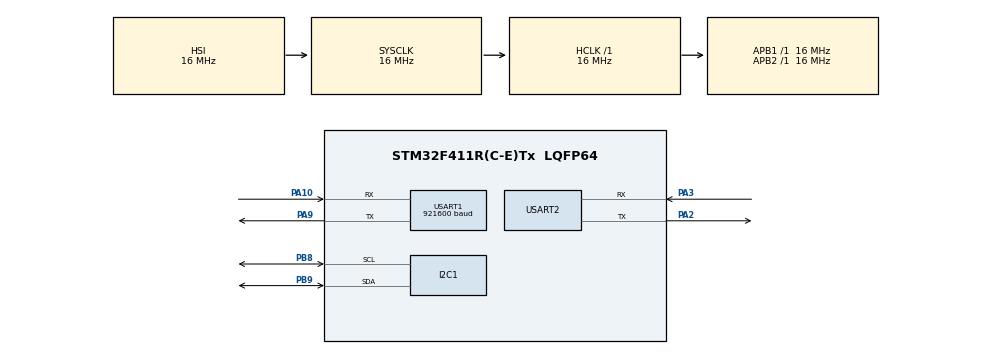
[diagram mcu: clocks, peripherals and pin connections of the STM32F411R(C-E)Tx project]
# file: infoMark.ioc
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Dma.Request0=USART1_RX
Dma.Request1=USART2_RX
Dma.Request2=USART2_TX
Dma.Request3=USART1_TX
Dma.USART1_RX.0.Direction=DMA_PERIPH_TO_MEMORY
Dma.USART1_RX.0.FIFOMode=DMA_FIFOMODE_DISABLE
Dma.USART1_RX.0.Instance=DMA2_Stream2
Dma.USART1_RX.0.MemDataAlignment=DMA_MDATAALIGN_BYTE
Dma.USART1_RX.0.MemInc=DMA_MINC_ENABLE
Dma.USART1_RX.0.Mode=DMA_NORMAL
Dma.USART1_RX.0.PeriphDataAlignment=DMA_PDATAALIGN_BYTE
Dma.USART1_RX.0.PeriphInc=DMA_PINC_DISABLE
Dma.USART1_RX.0.Priority=DMA_PRIORITY_LOW
Dma.USART1_TX.3.Direction=DMA_MEMORY_TO_PERIPH
Dma.USART1_TX.3.FIFOMode=DMA_FIFOMODE_DISABLE
Dma.USART1_TX.3.Instance=DMA2_Stream7
Dma.USART1_TX.3.MemDataAlignment=DMA_MDATAALIGN_BYTE
Dma.USART1_TX.3.MemInc=DMA_MINC_ENABLE
Dma.USART1_TX.3.Mode=DMA_NORMAL
Dma.USART1_TX.3.PeriphDataAlignment=DMA_PDATAALIGN_BYTE
Dma.USART1_TX.3.PeriphInc=DMA_PINC_DISABLE
Dma.USART1_TX.3.Priority=DMA_PRIORITY_LOW
Dma.USART2_RX.1.Direction=DMA_PERIPH_TO_MEMORY
Dma.USART2_RX.1.FIFOMode=DMA_FIFOMODE_DISABLE
Dma.USART2_RX.1.Instance=DMA1_Stream5
Dma.USART2_RX.1.MemDataAlignment=DMA_MDATAALIGN_BYTE
Dma.USART2_RX.1.MemInc=DMA_MINC_ENABLE
Dma.USART2_RX.1.Mode=DMA_NORMAL
Dma.USART2_RX.1.PeriphDataAlignment=DMA_PDATAALIGN_BYTE
Dma.USART2_RX.1.PeriphInc=DMA_PINC_DISABLE
Dma.USART2_RX.1.Priority=DMA_PRIORITY_LOW
Dma.USART2_TX.2.Direction=DMA_MEMORY_TO_PERIPH
Dma.USART2_TX.2.FIFOMode=DMA_FIFOMODE_DISABLE
Dma.USART2_TX.2.Instance=DMA1_Stream6
Dma.USART2_TX.2.MemDataAlignment=DMA_MDATAALIGN_BYTE
Dma.USART2_TX.2.MemInc=DMA_MINC_ENABLE
Dma.USART2_TX.2.Mode=DMA_NORMAL
Dma.USART2_TX.2.PeriphDataAlignment=DMA_PDATAALIGN_BYTE
Dma.USART2_TX.2.PeriphInc=DMA_PINC_DISABLE
Dma.USART2_TX.2.Priority=DMA_PRIORITY_LOW
Mcu.Family=STM32F4
Mcu.Name=STM32F411R(C-E)Tx
Mcu.Package=LQFP64
NVIC.DMA1_Stream5_IRQn=true\:0\:0\:false\:false\:true\:false\:true\:true
NVIC.DMA1_Stream6_IRQn=true\:0\:0\:false\:false\:true\:false\:true\:true
NVIC.DMA2_Stream2_IRQn=true\:0\:0\:false\:false\:true\:false\:true\:true
NVIC.DMA2_Stream7_IRQn=true\:0\:0\:false\:false\:true\:false\:true\:true
NVIC.PriorityGroup=NVIC_PRIORITYGROUP_4
NVIC.USART1_IRQn=true\:0\:0\:false\:false\:true\:true\:true\:true
NVIC.USART2_IRQn=true\:0\:0\:false\:false\:true\:true\:true\:true
PA10.Mode=Asynchronous
PA10.Signal=USART1_RX
PA13.Mode=Serial_Wire
PA13.Signal=SYS_JTMS-SWDIO
PA14.Mode=Serial_Wire
PA14.Signal=SYS_JTCK-SWCLK
PA2.Mode=Asynchronous
PA2.Signal=USART2_TX
PA3.Mode=Asynchronous
PA3.Signal=USART2_RX
PA9.Mode=Asynchronous
PA9.Signal=USART1_TX
PB8.Mode=I2C
PB8.Signal=I2C1_SCL
PB9.Mode=I2C
PB9.Signal=I2C1_SDA
ProjectManager.HeapSize=0x200
ProjectManager.StackSize=0x400
ProjectManager.TargetToolchain=CMake
RCC.AHBFreq_Value=16000000
RCC.APB1Freq_Value=16000000
RCC.APB2Freq_Value=16000000
RCC.CortexFreq_Value=16000000
RCC.HSE_VALUE=25000000
RCC.HSI_VALUE=16000000
RCC.LSE_VALUE=32768
RCC.SYSCLKFreq_VALUE=16000000
RCC.VCOOutputFreq_Value=192000000
USART1.BaudRate=921600
USART1.VirtualMode=VM_ASYNC
USART2.VirtualMode=VM_ASYNC
board=custom

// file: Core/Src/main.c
/* USER CODE BEGIN Header */
/**
  ******************************************************************************
  * @file           : main.c
  * @brief          : Main program body (Chat Display to Full LCD)
  ******************************************************************************
  */
/* USER CODE END Header */
#include "main.h"
#include "dma.h"
#include "i2c.h"
#include "usart.h"
#include "gpio.h"

/* USER CODE BEGIN Includes */
#include "myLcd.h"
#include <stdio.h>
#include <string.h>
#include "parkingModel.h"
#include "parkingDisplay.h"
/* USER CODE END Includes */

/* USER CODE BEGIN PV */
#define RX_BUF_SIZE 256
uint8_t rx_buf[RX_BUF_SIZE];        // Teleplot -> USART2 수신용 버퍼
uint8_t tx_buf[RX_BUF_SIZE];        // USART2 -> 점퍼선 -> USART1 수신용 버퍼

char lcd_display_buf[RX_BUF_SIZE];  // LCD 출력용 버퍼
volatile uint8_t lcd_update_flag = 0;
/* USER CODE END PV */

void SystemClock_Config(void);

/* USER CODE BEGIN 0 */
void parkingLcdRender(const ParkingSystem_t *sys);
int __io_putchar(int ch)
{
    HAL_UART_Transmit(&huart2, (uint8_t *)&ch, 1, 10);
    return ch;
}
/* USER CODE END 0 */

int main(void)
{

  /* MCU Configuration--------------------------------------------------------*/

  /* Reset of all peripherals, Initializes the Flash interface and the Systick. */
  HAL_Init();

  /* Configure the system clock */
  SystemClock_Config();

  /* Initialize all configured peripherals */
  MX_GPIO_Init();
  MX_DMA_Init();
  MX_USART2_UART_Init();
  MX_I2C1_Init();
  MX_USART1_UART_Init();
  /* USER CODE BEGIN 2 */

  // 0. I2C 버스 스캐너 실행 (연결된 모든 I2C 디바이스 감지)
  printf("\r\n--- Scanning I2C bus ---\r\n");
  for (uint8_t i = 1; i < 128; i++) {
      if (HAL_I2C_IsDeviceReady(&hi2c1, (i << 1), 1, 10) == HAL_OK) {
          printf("[I2C Found] Device address: 0x%02X (8-bit: 0x%02X)\r\n", i, (i << 1));
      }
  }
  printf("------------------------\r\n");

  // 주차 모델 초기화 (기본 10개 슬롯 활성화)
  parkingModelInit();

  // 1. LCD 초기화 및 초기 주차 현황 출력
  lcdInit(&hi2c1, I2C_LCD_ADDR);
  lcdClear();
  parkingLcdRender(parkingModelGetSystem());

  // OLED 주차 디스플레이 초기화 (LCD와 동일한 I2C 버스 공유)
  parkingDisplayInit(&hi2c1);
  parkingDisplayRenderSlots(parkingModelGetSystem());

  // 2. Teleplot 시작 안내
  char init_msg[] = "\r\n[System] InfoMark DMA Pipeline Ready! Enter chat:\r\n";
  HAL_UART_Transmit(&huart2, (uint8_t *)init_msg, strlen(init_msg), 100);

  HAL_UARTEx_ReceiveToIdle_DMA(&huart2, rx_buf, RX_BUF_SIZE);
  __HAL_DMA_DISABLE_IT(huart2.hdmarx, DMA_IT_HT);

  HAL_UARTEx_ReceiveToIdle_DMA(&huart1, tx_buf, RX_BUF_SIZE);
  __HAL_DMA_DISABLE_IT(huart1.hdmarx, DMA_IT_HT);

  /* USER CODE END 2 */

  /* Infinite loop */
  /* USER CODE BEGIN WHILE */
  while (1)
  {
      if (lcd_update_flag)
      {
        lcd_update_flag = 0;
        parkingLcdRender(parkingModelGetSystem());
        parkingDisplayRenderSlots(parkingModelGetSystem());

        /* Teleplot용 출력 */
        const ParkingSystem_t *sys = parkingModelGetSystem();
        printf(">EmptyCount:%d\r\n>OccupiedCount:%d\r\n", sys->empty_count, sys->occupied_count);
        for (int j = 0; j < MAX_PARKING_SLOTS; j++) {
            if (sys->slots[j].is_valid) {
                printf(">%c%02d:%d\r\n", sys->slots[j].section, sys->slots[j].number, sys->slots[j].is_occupied ? 1 : 0);
            }
        }
      }
    /* USER CODE END WHILE */

  }
}

void SystemClock_Config(void)
{
  RCC_OscInitTypeDef RCC_OscInitStruct = {0};
  RCC_ClkInitTypeDef RCC_ClkInitStruct = {0};

  /** Configure the main internal regulator output voltage
  */
  __HAL_RCC_PWR_CLK_ENABLE();
  __HAL_PWR_VOLTAGESCALING_CONFIG(PWR_REGULATOR_VOLTAGE_SCALE1);

  /** Initializes the RCC Oscillators according to the specified parameters
  * in the RCC_OscInitTypeDef structure.
  */
  RCC_OscInitStruct.OscillatorType = RCC_OSCILLATORTYPE_HSI;
  RCC_OscInitStruct.HSIState = RCC_HSI_ON;
  RCC_OscInitStruct.HSICalibrationValue = RCC_HSICALIBRATION_DEFAULT;
  RCC_OscInitStruct.PLL.PLLState = RCC_PLL_NONE;
  if (HAL_RCC_OscConfig(&RCC_OscInitStruct) != HAL_OK)
  {
    Error_Handler();
  }

  /** Initializes the CPU, AHB and APB buses clocks
  */
  RCC_ClkInitStruct.ClockType = RCC_CLOCKTYPE_HCLK|RCC_CLOCKTYPE_SYSCLK
                              |RCC_CLOCKTYPE_PCLK1|RCC_CLOCKTYPE_PCLK2;
  RCC_ClkInitStruct.SYSCLKSource = RCC_SYSCLKSOURCE_HSI;
  RCC_ClkInitStruct.AHBCLKDivider = RCC_SYSCLK_DIV1;
  RCC_ClkInitStruct.APB1CLKDivider = RCC_HCLK_DIV1;
  RCC_ClkInitStruct.APB2CLKDivider = RCC_HCLK_DIV1;

  if (HAL_RCC_ClockConfig(&RCC_ClkInitStruct, FLASH_LATENCY_0) != HAL_OK)
  {
    Error_Handler();
  }
}

/* USER CODE BEGIN 4 */
void HAL_UARTEx_RxEventCallback(UART_HandleTypeDef *huart, uint16_t Size)
{
    // [1단계] Teleplot(USART2) 수신 -> USART1(점퍼선)으로 송신
    if (huart->Instance == USART2)
    {
        HAL_UART_DMAStop(&huart2);

        // huart1으로 쏴주어야 USART1의 RX(PA10) DMA가 수신 완료를 감지함
        HAL_UART_Transmit(&huart1, rx_buf, Size, 100);

        memset(rx_buf, 0, Size);
        HAL_UARTEx_ReceiveToIdle_DMA(&huart2, rx_buf, RX_BUF_SIZE);
    }
    // [2단계] 점퍼선 또는 외부에서 USART1 수신 완료 -> LCD 출력
    else if (huart->Instance == USART1)
    {
        HAL_UART_DMAStop(&huart1);

        while (Size > 0 && (tx_buf[Size - 1] == '\r' || tx_buf[Size - 1] == '\n' || tx_buf[Size - 1] == 0)) {
            Size--;
        }

        if (Size > 0) {
            uint16_t pkt_idx = 0;
            bool found = false;
            for (uint16_t i = 0; i < Size - 4; i++) {
                if (tx_buf[i] == '$' && tx_buf[i+1] == 'P' && tx_buf[i+2] == 'A' && tx_buf[i+3] == 'R' && tx_buf[i+4] == 'K') {
                    pkt_idx = i;
                    found = true;
                    break;
                }
                if (i < Size - 5 && tx_buf[i] == '$' && tx_buf[i+1] == 'E' && tx_buf[i+2] == 'V' && tx_buf[i+3] == 'E' && tx_buf[i+4] == 'N' && tx_buf[i+5] == 'T') {
                    pkt_idx = i;
                    found = true;
                    break;
                }
            }

            if (found) {
                uint16_t copy_len = Size - pkt_idx;
                if (copy_len >= sizeof(lcd_display_buf)) copy_len = sizeof(lcd_display_buf) - 1;
                memcpy(lcd_display_buf, &tx_buf[pkt_idx], copy_len);
                lcd_display_buf[copy_len] = '\0';

                // 중간에 있는 null 문자들을 모두 공백으로 변환 (strtok 등에서 끊기지 않도록)
                for(uint16_t i=0; i<copy_len; i++){
                    if(lcd_display_buf[i] == '\0') {
                        lcd_display_buf[i] = ' ';
                    }
                }

                /* 1. 수신 패킷 파싱 */
                if (parkingModelParsePacket(lcd_display_buf)) {
                    lcd_update_flag = 1; /* 파싱 성공 시 LCD/OLED 갱신 플래그 ON */
                }
            }

            /* UART2로 원본 수신 디버그 출력 (주석 처리) */
            // printf("\r\n[UART1 Rx (%d bytes)] %s (HEX:", Size, lcd_display_buf);
            // for (int i = 0; i < Size && i < 16; i++) {
            //     printf(" %02X", (uint8_t)lcd_display_buf[i]);
            // }
            // printf(")\r\n");
        }

        memset(tx_buf, 0, sizeof(tx_buf));
        HAL_UARTEx_ReceiveToIdle_DMA(&huart1, tx_buf, RX_BUF_SIZE);
        __HAL_DMA_DISABLE_IT(huart1.hdmarx, DMA_IT_HT);
    }
}

void HAL_UART_ErrorCallback(UART_HandleTypeDef *huart)
{
    if (huart->Instance == USART1)
    {
        /* 오버런 등 에러 플래그 클리어 후 DMA 재시작 */
        // __HAL_UART_CLEAR_OREFLAG(huart);
        // HAL_UARTEx_ReceiveToIdle_DMA(&huart1, tx_buf, RX_BUF_SIZE);
        __HAL_UART_CLEAR_OREFLAG(huart);
        HAL_UARTEx_ReceiveToIdle_DMA(&huart1, tx_buf, RX_BUF_SIZE);
        __HAL_DMA_DISABLE_IT(huart1.hdmarx, DMA_IT_HT);
    }
    else if (huart->Instance == USART2)
    {
        // __HAL_UART_CLEAR_OREFLAG(huart);
        // HAL_UARTEx_ReceiveToIdle_DMA(&huart2, rx_buf, RX_BUF_SIZE);
        __HAL_UART_CLEAR_OREFLAG(huart);
        HAL_UARTEx_ReceiveToIdle_DMA(&huart2, rx_buf, RX_BUF_SIZE);
        __HAL_DMA_DISABLE_IT(huart2.hdmarx, DMA_IT_HT);
    }
}

void parkingLcdRender(const ParkingSystem_t *sys) {
    char line1[17];
    char line2[17];

    /* 1번째 줄: 전체 빈자리 현황 (예: "Empty: 4 / 6") */
    char temp_line1[32];
    snprintf(temp_line1, sizeof(temp_line1), "PARK Empty:%u/%u", sys->empty_count, sys->total_count);
    snprintf(line1, sizeof(line1), "%-16s", temp_line1);

    /* 2번째 줄: 각 구역별 슬롯 상태 요약 ('X': 주차됨, 'O': 빈자리) */
    // /* 예: "A: O X O O X O" */
    // int offset = snprintf(line2, sizeof(line2), "A:");
    // for (int i = 0; i < sys->total_count && offset < 16; i++) {
    //     if (sys->slots[i].is_valid && (sys->slots[i].section == 'A')) {
    //         offset += snprintf(line2 + offset, sizeof(line2) - offset, " %c",
    //                            sys->slots[i].is_occupied ? 'X' : 'O');
    //     }
    // }

    // /* 디버그 출력 또는 실제 LCD 드라이버 함수 호출 */
    // printf("\r\n--- LCD DISPLAY --- \r\n");
    // printf("Line 1: %s\r\n", line1);
    // printf("Line 2: %s\r\n", line2);
    // printf("-------------------\r\n");

    char status_str[11] = {0};
    for (int i = 0; i < sys->total_count && i < 10; i++) {
        if (sys->slots[i].is_valid) {
            status_str[i] = sys->slots[i].is_occupied ? 'X' : 'O';
        } else {
            status_str[i] = '-';
        }
    }

    char temp_line2[32];
    snprintf(temp_line2, sizeof(temp_line2), "S:%s", status_str);
    snprintf(line2, sizeof(line2), "%-16s", temp_line2);

    lcdSetCursor(0, 0);
    lcdSendString(line1);
    lcdSetCursor(1, 0);
    lcdSendString(line2);

}
/* USER CODE END 4 */

void Error_Handler(void)
{
  __disable_irq();
  while (1)
  {
  }
}
